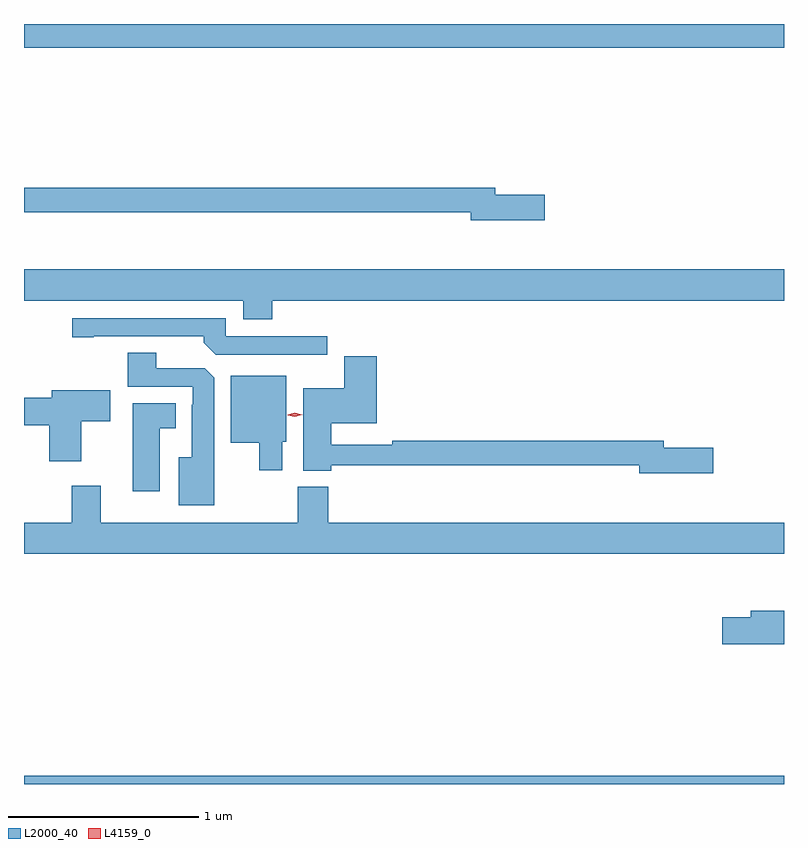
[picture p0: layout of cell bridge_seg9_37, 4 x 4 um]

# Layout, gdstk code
import gdstk
lib = gdstk.Library(unit=1e-6, precision=1e-09)
def R(c, l, rs):  # rectangles x0, y0, x1, y1
    for r in rs: c.add(gdstk.rectangle(r[:2], r[2:], *l))
def P(c, l, *ps):  # polygons
    for p in ps: c.add(gdstk.Polygon(p, *l))
L2000_40 = (2000, 40)
L4159_0 = (4159, 0)

bridge_seg9_37 = lib.new_cell('bridge_seg9_37')
R(bridge_seg9_37, L2000_40, [(975.069,1173.896,979.069,1173.94), (975.069,1177.772,979.069,1177.896)])
P(bridge_seg9_37, L2000_40, [(977.809,1176.998),(977.548,1176.998),(977.548,1177.034),(975.069,1177.034),(975.069,1176.906),(977.42,1176.906),(977.42,1176.863),(977.809,1176.863)],
  [(976.376,1176.44),(979.069,1176.44),(979.069,1176.604),(975.069,1176.604),(975.069,1176.44),(976.223,1176.44),(976.223,1176.341),(976.376,1176.341)],
  [(976.666,1176.252),(976.131,1176.252),(976.131,1176.348),(975.324,1176.348),(975.324,1176.247),(975.436,1176.247),(975.436,1176.252),(976.016,1176.252),(976.016,1176.218),(976.077,1176.156),(976.666,1176.156)],
  [(976.069,1176.035),(976.02,1176.084),(975.766,1176.084),(975.766,1176.167),(975.614,1176.167),(975.614,1175.988),(975.957,1175.988),(975.957,1175.891),(975.953,1175.891),(975.953,1175.617),(975.884,1175.617),(975.884,1175.363),(976.069,1175.363)],
  [(978.697,1175.666),(978.436,1175.666),(978.436,1175.702),(977.008,1175.702),(977.008,1175.682),(976.685,1175.682),(976.685,1175.795),(976.925,1175.795),(976.925,1176.148),(976.754,1176.148),(976.754,1175.98),(976.538,1175.98),(976.538,1175.546),(976.685,1175.546),(976.685,1175.574),(978.308,1175.574),(978.308,1175.531),(978.697,1175.531)],
  [(976.429,1175.697),(976.45,1175.697),(976.45,1176.046),(976.157,1176.046),(976.157,1175.693),(976.307,1175.693),(976.307,1175.547),(976.429,1175.547)],
  [(975.37,1175.806),(975.523,1175.806),(975.523,1175.968),(975.215,1175.968),(975.215,1175.93),(975.069,1175.93),(975.069,1175.783),(975.203,1175.783),(975.203,1175.595),(975.37,1175.595)],
  [(975.784,1175.768),(975.868,1175.768),(975.868,1175.899),(975.641,1175.899),(975.641,1175.436),(975.784,1175.436)],
  [(979.069,1175.272),(976.67,1175.272),(976.67,1175.461),(976.51,1175.461),(976.51,1175.272),(975.472,1175.272),(975.472,1175.467),(975.32,1175.467),(975.32,1175.272),(975.069,1175.272),(975.069,1175.108),(979.069,1175.108)],
  [(979.069,1174.807),(978.893,1174.807),(978.893,1174.773),(978.744,1174.773),(978.744,1174.631),(979.069,1174.631)])
P(bridge_seg9_37, L4159_0, [(976.495,1175.829),(976.458,1175.838),(976.457,1175.839),(976.458,1175.839),(976.495,1175.849),(976.533,1175.84),(976.533,1175.84),(976.533,1175.839)])

lib.write_gds('bridge_seg9_37.gds')
